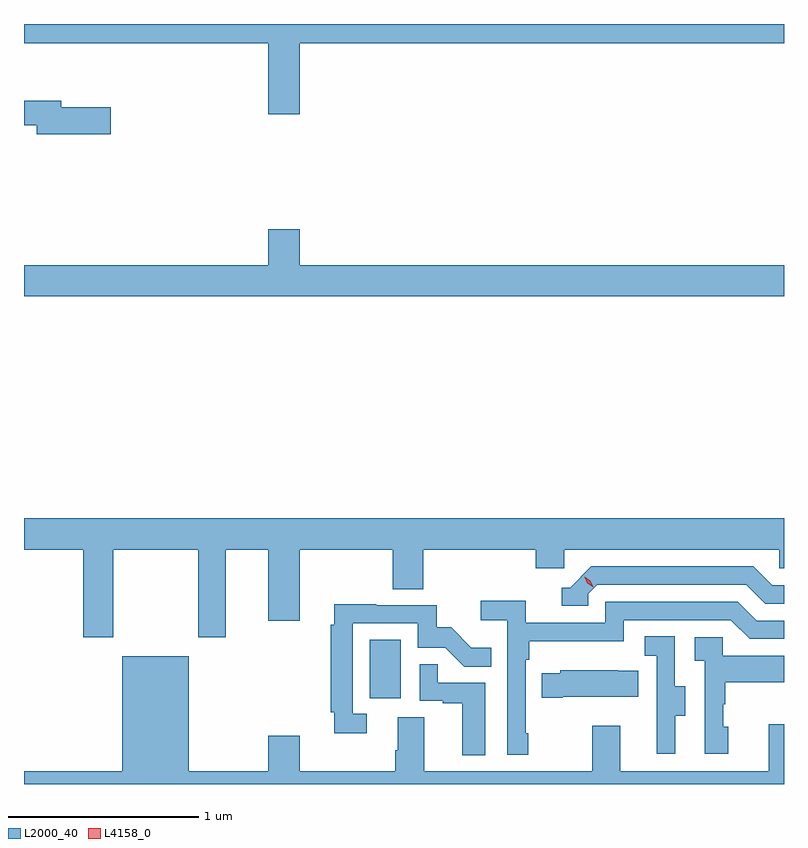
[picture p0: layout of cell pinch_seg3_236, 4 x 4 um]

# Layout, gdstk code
import gdstk
lib = gdstk.Library(unit=1e-6, precision=1e-09)
def R(c, l, rs):  # rectangles x0, y0, x1, y1
    for r in rs: c.add(gdstk.rectangle(r[:2], r[2:], *l))
def P(c, l, *ps):  # polygons
    for p in ps: c.add(gdstk.Polygon(p, *l))
L2000_40 = (2000, 40)
L4158_0 = (4158, 0)

pinch_seg3_236 = lib.new_cell('pinch_seg3_236')
R(pinch_seg3_236, L2000_40, [(896.81,734.766,896.974,735.073)])
P(pinch_seg3_236, L2000_40, [(896.44,738.212),(898.99,738.212),(898.99,738.314),(894.99,738.314),(894.99,738.212),(896.276,738.212),(896.276,737.838),(896.44,737.838)],
  [(895.447,737.877),(895.186,737.877),(895.186,737.911),(894.99,737.911),(894.99,737.782),(895.058,737.782),(895.058,737.735),(895.447,737.735)],
  [(898.99,737.044),(896.44,737.044),(896.44,737.233),(896.276,737.233),(896.276,737.044),(894.99,737.044),(894.99,736.88),(898.99,736.88)],
  [(895.461,735.548),(895.906,735.548),(895.906,735.087),(896.053,735.087),(896.053,735.548),(896.276,735.548),(896.276,735.174),(896.44,735.174),(896.44,735.548),(896.932,735.548),(896.932,735.34),(897.092,735.34),(897.092,735.548),(897.683,735.548),(897.683,735.45),(897.834,735.45),(897.834,735.548),(898.965,735.548),(898.965,735.45),(898.99,735.45),(898.99,735.712),(894.99,735.712),(894.99,735.548),(895.301,735.548),(895.301,735.087),(895.461,735.087)],
  [(897.96,735.315),(898.008,735.363),(898.791,735.363),(898.89,735.264),(898.99,735.264),(898.99,735.36),(898.927,735.36),(898.828,735.459),(897.975,735.459),(897.864,735.348),(897.821,735.348),(897.821,735.252),(897.96,735.252)],
  [(897.643,734.581),(897.63,734.581),(897.63,734.969),(897.65,734.969),(897.65,735.065),(898.146,735.065),(898.146,735.177),(898.71,735.177),(898.809,735.078),(898.99,735.078),(898.99,735.174),(898.846,735.174),(898.747,735.273),(898.05,735.273),(898.05,735.162),(897.632,735.162),(897.632,735.278),(897.393,735.278),(897.393,735.176),(897.534,735.176),(897.534,734.469),(897.643,734.469)],
  [(896.794,734.685),(896.721,734.685),(896.721,735.159),(897.063,735.159),(897.063,735.03),(897.208,735.03),(897.306,734.932),(897.449,734.932),(897.449,735.031),(897.345,735.031),(897.238,735.138),(897.162,735.138),(897.162,735.255),(896.843,735.255),(896.843,735.26),(896.624,735.26),(896.624,735.152),(896.605,735.152),(896.605,734.692),(896.624,734.692),(896.624,734.58),(896.794,734.58)],
  [(898.417,734.674),(898.471,734.674),(898.471,734.829),(898.416,734.829),(898.416,735.092),(898.257,735.092),(898.257,734.989),(898.32,734.989),(898.32,734.685),(898.319,734.685),(898.319,734.472),(898.417,734.472)],
  [(898.696,734.616),(898.671,734.616),(898.671,734.735),(898.681,734.735),(898.681,734.849),(898.99,734.849),(898.99,734.989),(898.668,734.989),(898.668,735.087),(898.521,735.087),(898.521,734.963),(898.572,734.963),(898.572,734.472),(898.696,734.472)],
  [(898.99,734.629),(898.91,734.629),(898.91,734.38),(898.129,734.38),(898.129,734.62),(897.982,734.62),(897.982,734.38),(897.097,734.38),(897.097,734.666),(896.957,734.666),(896.957,734.492),(896.945,734.492),(896.945,734.38),(896.44,734.38),(896.44,734.569),(896.276,734.569),(896.276,734.38),(895.858,734.38),(895.858,734.986),(895.508,734.986),(895.508,734.38),(894.99,734.38),(894.99,734.314),(898.99,734.314)],
  [(897.418,734.847),(897.167,734.847),(897.167,734.945),(897.072,734.945),(897.072,734.751),(897.193,734.751),(897.193,734.739),(897.296,734.739),(897.296,734.465),(897.418,734.465)],
  [(897.826,734.774),(898.223,734.774),(898.223,734.911),(898.115,734.911),(898.115,734.914),(897.813,734.914),(897.813,734.896),(897.715,734.896),(897.715,734.767),(897.826,734.767)])
P(pinch_seg3_236, L4158_0, [(897.985,735.35),(897.955,735.37),(897.94,735.403),(897.94,735.404),(897.94,735.404),(897.97,735.384),(897.986,735.351),(897.986,735.35)])

lib.write_gds('pinch_seg3_236.gds')
